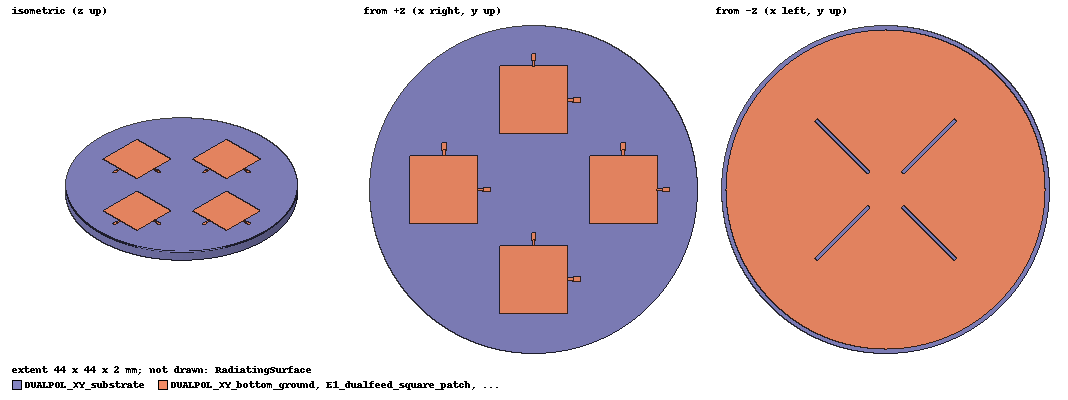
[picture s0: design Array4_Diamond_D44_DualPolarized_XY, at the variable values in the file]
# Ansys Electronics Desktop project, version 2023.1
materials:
  vacuum: permittivity=1
  RO4350B_custom_D44_Topology: permittivity=3.48 permeability=1 dielectric_loss_tangent=0.0037
  copper: permeability=0.999991 conductivity=58000000
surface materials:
  Steel-oxidised-surface

design Array4_Diamond_D44_DualPolarized_XY (HFSS, HFSS Modal Network, model units mm)
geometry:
  DUALPOL_XY_substrate [RO4350B_custom_D44_Topology] = cylinder(axis=Z, base_centre=(0mm, 0mm, 0mm), radius=22mm, height=2mm, segments=128)
  DUALPOL_XY_bottom_ground [copper] = circle(normal=Z, centre=(0mm, 0mm, 0mm), radius=21.4mm, segments=128)
  ground_isolation_slot_1 = polyline(z=0mm, xy in mm: (2.4112341, 2.1142493) (9.4823019, 9.1853171) (9.1853171, 9.4823019) (2.1142493, 2.4112341) (2.4112341, 2.1142493), closed, covered)
  ground_isolation_slot_2 = polyline(z=0mm, xy in mm: (-2.1142493, 2.4112341) (-9.1853171, 9.4823019) (-9.4823019, 9.1853171) (-2.4112341, 2.1142493) (-2.1142493, 2.4112341), closed, covered)
  ground_isolation_slot_3 = polyline(z=0mm, xy in mm: (-2.4112341, -2.1142493) (-9.4823019, -9.1853171) (-9.1853171, -9.4823019) (-2.1142493, -2.4112341) (-2.4112341, -2.1142493), closed, covered)
  ground_isolation_slot_4 = polyline(z=0mm, xy in mm: (2.1142493, -2.4112341) (9.1853171, -9.4823019) (9.4823019, -9.1853171) (2.4112341, -2.1142493) (2.1142493, -2.4112341), closed, covered)
  E1_dualfeed_square_patch [copper] = polyline(z=2mm, xy in mm: (7.4458153, -4.575) (16.595815, -4.575) (16.595815, 4.575) (7.4458153, 4.575) (7.4458153, -4.575), closed, covered)
  P1A_edge_match_section [copper] = polyline(z=2mm, xy in mm: (16.515815, -0.2) (17.345815, -0.2) (17.345815, 0.2) (16.515815, 0.2) (16.515815, -0.2), closed, covered)
  P1A_edge_feedline [copper] = polyline(z=2mm, xy in mm: (17.265815, -0.29) (18.295815, -0.29) (18.295815, 0.29) (17.265815, 0.29) (17.265815, -0.29), closed, covered)
  P1A_lumped_port_sheet = polyline(x=18.295815mm, yz in mm: (-0.25, 0) (0.25, 0) (0.25, 2) (-0.25, 2) (-0.25, 0), closed, covered)
  P1B_edge_match_section [copper] = polyline(z=2mm, xy in mm: (11.820815, 4.495) (12.220815, 4.495) (12.220815, 5.325) (11.820815, 5.325) (11.820815, 4.495), closed, covered)
  P1B_edge_feedline [copper] = polyline(z=2mm, xy in mm: (11.730815, 5.245) (12.310815, 5.245) (12.310815, 6.275) (11.730815, 6.275) (11.730815, 5.245), closed, covered)
  P1B_lumped_port_sheet = polyline(x=12.020815mm, yz in mm: (6.025, 0) (6.525, 0) (6.525, 2) (6.025, 2) (6.025, 0), closed, covered)
  E2_dualfeed_square_patch [copper] = polyline(z=2mm, xy in mm: (-4.575, 7.4458153) (4.575, 7.4458153) (4.575, 16.595815) (-4.575, 16.595815) (-4.575, 7.4458153), closed, covered)
  P2A_edge_match_section [copper] = polyline(z=2mm, xy in mm: (4.495, 11.820815) (5.325, 11.820815) (5.325, 12.220815) (4.495, 12.220815) (4.495, 11.820815), closed, covered)
  P2A_edge_feedline [copper] = polyline(z=2mm, xy in mm: (5.245, 11.730815) (6.275, 11.730815) (6.275, 12.310815) (5.245, 12.310815) (5.245, 11.730815), closed, covered)
  P2A_lumped_port_sheet = polyline(x=6.275mm, yz in mm: (11.770815, 0) (12.270815, 0) (12.270815, 2) (11.770815, 2) (11.770815, 0), closed, covered)
  P2B_edge_match_section [copper] = polyline(z=2mm, xy in mm: (-0.2, 16.515815) (0.2, 16.515815) (0.2, 17.345815) (-0.2, 17.345815) (-0.2, 16.515815), closed, covered)
  P2B_edge_feedline [copper] = polyline(z=2mm, xy in mm: (-0.29, 17.265815) (0.29, 17.265815) (0.29, 18.295815) (-0.29, 18.295815) (-0.29, 17.265815), closed, covered)
  P2B_lumped_port_sheet = polyline(x=7.3606265e-16mm, yz in mm: (18.045815, 0) (18.545815, 0) (18.545815, 2) (18.045815, 2) (18.045815, 0), closed, covered)
  E3_dualfeed_square_patch [copper] = polyline(z=2mm, xy in mm: (-16.595815, -4.575) (-7.4458153, -4.575) (-7.4458153, 4.575) (-16.595815, 4.575) (-16.595815, -4.575), closed, covered)
  P3A_edge_match_section [copper] = polyline(z=2mm, xy in mm: (-7.5258153, -0.2) (-6.6958153, -0.2) (-6.6958153, 0.2) (-7.5258153, 0.2) (-7.5258153, -0.2), closed, covered)
  P3A_edge_feedline [copper] = polyline(z=2mm, xy in mm: (-6.7758153, -0.29) (-5.7458153, -0.29) (-5.7458153, 0.29) (-6.7758153, 0.29) (-6.7758153, -0.29), closed, covered)
  P3A_lumped_port_sheet = polyline(x=-5.7458153mm, yz in mm: (-0.25, 0) (0.25, 0) (0.25, 2) (-0.25, 2) (-0.25, 0), closed, covered)
  P3B_edge_match_section [copper] = polyline(z=2mm, xy in mm: (-12.220815, 4.495) (-11.820815, 4.495) (-11.820815, 5.325) (-12.220815, 5.325) (-12.220815, 4.495), closed, covered)
  P3B_edge_feedline [copper] = polyline(z=2mm, xy in mm: (-12.310815, 5.245) (-11.730815, 5.245) (-11.730815, 6.275) (-12.310815, 6.275) (-12.310815, 5.245), closed, covered)
  P3B_lumped_port_sheet = polyline(x=-12.020815mm, yz in mm: (6.025, 0) (6.525, 0) (6.525, 2) (6.025, 2) (6.025, 0), closed, covered)
  E4_dualfeed_square_patch [copper] = polyline(z=2mm, xy in mm: (-4.575, -16.595815) (4.575, -16.595815) (4.575, -7.4458153) (-4.575, -7.4458153) (-4.575, -16.595815), closed, covered)
  P4A_edge_match_section [copper] = polyline(z=2mm, xy in mm: (4.495, -12.220815) (5.325, -12.220815) (5.325, -11.820815) (4.495, -11.820815) (4.495, -12.220815), closed, covered)
  P4A_edge_feedline [copper] = polyline(z=2mm, xy in mm: (5.245, -12.310815) (6.275, -12.310815) (6.275, -11.730815) (5.245, -11.730815) (5.245, -12.310815), closed, covered)
  P4A_lumped_port_sheet = polyline(x=6.275mm, yz in mm: (-12.270815, 0) (-11.770815, 0) (-11.770815, 2) (-12.270815, 2) (-12.270815, 0), closed, covered)
  P4B_edge_match_section [copper] = polyline(z=2mm, xy in mm: (-0.2, -7.5258153) (0.2, -7.5258153) (0.2, -6.6958153) (-0.2, -6.6958153) (-0.2, -7.5258153), closed, covered)
  P4B_edge_feedline [copper] = polyline(z=2mm, xy in mm: (-0.29, -6.7758153) (0.29, -6.7758153) (0.29, -5.7458153) (-0.29, -5.7458153) (-0.29, -6.7758153), closed, covered)
  P4B_lumped_port_sheet = polyline(x=-2.2081879e-15mm, yz in mm: (-5.9958153, 0) (-5.4958153, 0) (-5.4958153, 2) (-5.9958153, 2) (-5.9958153, 0), closed, covered)
  DUALPOL_XY_bottom_ground.subtract(ground_isolation_slot_1..ground_isolation_slot_4)
  RadiatingSurface [vacuum] = region(absolute_offset=14.285714mm on all sides)
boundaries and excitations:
  DUALPOL_XY_PEC_metallization: Perfect E Objects=[DUALPOL_XY_bottom_ground, E1_dualfeed_square_patch, P1A_edge_match_section, P1A_edge_feedline, P1B_edge_match_section, P1B_edge_feedline, E2_dualfeed_square_patch, P2A_edge_match_section, P2A_edge_feedline, P2B_edge_match_section, P2B_edge_feedline, E3_dualfeed_square_patch, P3A_edge_match_section, P3A_edge_feedline, P3B_edge_match_section, P3B_edge_feedline, E4_dualfeed_square_patch, P4A_edge_match_section, P4A_edge_feedline, P4B_edge_match_section, P4B_edge_feedline]
  Open1: Radiation Objects=RadiatingSurface
  P1A: Lumped Port Objects=P1A_lumped_port_sheet LumpedPortType=Modal Modes{Mode1{IntLine{(18.295815, 0, 2) -> (18.295815, 0, 0)} CharImp=Zpi RenormImp=50ohm}} Impedance=50ohm
  P1B: Lumped Port Objects=P1B_lumped_port_sheet LumpedPortType=Modal Modes{Mode1{IntLine{(12.020815, 6.275, 2) -> (12.020815, 6.275, 0)} CharImp=Zpi RenormImp=50ohm}} Impedance=50ohm
  P2A: Lumped Port Objects=P2A_lumped_port_sheet LumpedPortType=Modal Modes{Mode1{IntLine{(6.275, 12.020815, 2) -> (6.275, 12.020815, 0)} CharImp=Zpi RenormImp=50ohm}} Impedance=50ohm
  P2B: Lumped Port Objects=P2B_lumped_port_sheet LumpedPortType=Modal Modes{Mode1{IntLine{(0, 18.295815, 2) -> (0, 18.295815, 0)} CharImp=Zpi RenormImp=50ohm}} Impedance=50ohm
  P3A: Lumped Port Objects=P3A_lumped_port_sheet LumpedPortType=Modal Modes{Mode1{IntLine{(-5.7458153, 0, 2) -> (-5.7458153, 0, 0)} CharImp=Zpi RenormImp=50ohm}} Impedance=50ohm
  P3B: Lumped Port Objects=P3B_lumped_port_sheet LumpedPortType=Modal Modes{Mode1{IntLine{(-12.020815, 6.275, 2) -> (-12.020815, 6.275, 0)} CharImp=Zpi RenormImp=50ohm}} Impedance=50ohm
  P4A: Lumped Port Objects=P4A_lumped_port_sheet LumpedPortType=Modal Modes{Mode1{IntLine{(6.275, -12.020815, 2) -> (6.275, -12.020815, 0)} CharImp=Zpi RenormImp=50ohm}} Impedance=50ohm
  P4B: Lumped Port Objects=P4B_lumped_port_sheet LumpedPortType=Modal Modes{Mode1{IntLine{(0, -5.7458153, 2) -> (0, -5.7458153, 0)} CharImp=Zpi RenormImp=50ohm}} Impedance=50ohm
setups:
  Setup_CH9: HfssDriven Frequency=8GHz MaxDeltaS=0.05 MaximumPasses=4 MinimumPasses=1 MinimumConvergedPasses=1 PercentRefinement=30 BasisOrder=1 PortAccuracy=2 DrivenSolverType="Direct Solver"
    sweep Sweep_CH9: 7.738GHz to 8.233GHz, 3 points; Type=Discrete SaveFields SaveRadFields
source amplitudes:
  P1A:1: 1W 0deg
  P1B:1, P2A:1, P2B:1, P3A:1, P3B:1, P4A:1, P4B:1: 0W 0deg
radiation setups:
  3D: Infinite Sphere Theta=0deg..180deg step 2deg Phi=-180deg..180deg step 2deg
  Elevation: Infinite Sphere Theta=-180deg..180deg step 1deg Phi=0deg..90deg step 90deg
  Azimuth: Infinite Sphere Theta=90deg..90deg step 0deg Phi=-180deg..180deg step 1deg
  Upper_Hemisphere_5deg: Infinite Sphere Theta=0deg..360deg step 5deg Phi=0deg..90deg step 5deg
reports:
  DUALPOL_XY_S_Parameters: dB(S(P3B:1,P3B:1)), dB(S(P3A:1,P3A:1)), dB(S(P2B:1,P2B:1)), dB(S(P4B:1,P4B:1)), dB(S(P1B:1,P1B:1)), dB(S(P4A:1,P4A:1)), dB(S(P1A:1,P1A:1)), dB(S(P2A:1,P2A:1)), dB(S(P3B:1,P3A:1)), dB(S(P3B:1,P2B:1)), dB(S(P3B:1,P4B:1)), dB(S(P3B:1,P1B:1)), dB(S(P3B:1,P4A:1)), dB(S(P3B:1,P1A:1)), dB(S(P3B:1,P2A:1)), dB(S(P3A:1,P3B:1)), dB(S(P3A:1,P2B:1)), dB(S(P3A:1,P4B:1)), dB(S(P3A:1,P1B:1)), dB(S(P3A:1,P4A:1)), dB(S(P3A:1,P1A:1)), dB(S(P3A:1,P2A:1)), dB(S(P2B:1,P3B:1)), dB(S(P2B:1,P3A:1)), dB(S(P2B:1,P4B:1)), dB(S(P2B:1,P1B:1)), dB(S(P2B:1,P4A:1)), dB(S(P2B:1,P1A:1)), dB(S(P2B:1,P2A:1)), dB(S(P4B:1,P3B:1)), dB(S(P4B:1,P3A:1)), dB(S(P4B:1,P2B:1)), dB(S(P4B:1,P1B:1)), dB(S(P4B:1,P4A:1)), dB(S(P4B:1,P1A:1)), dB(S(P4B:1,P2A:1)), dB(S(P1B:1,P3B:1)), dB(S(P1B:1,P3A:1)), dB(S(P1B:1,P2B:1)), dB(S(P1B:1,P4B:1))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 vs Freq on Setup_CH9 : Sweep_CH9
  DUALPOL_XY_GainTotal_8GHz: dB(GainTotal) vs Phi, Theta on Setup_CH9 : Sweep_CH9, Upper_Hemisphere_5deg [Freq=8GHz]
  DUALPOL_XY_AxialRatio_8GHz: AxialRatioValue vs Phi, Theta on Setup_CH9 : Sweep_CH9, Upper_Hemisphere_5deg [Freq=8GHz]
